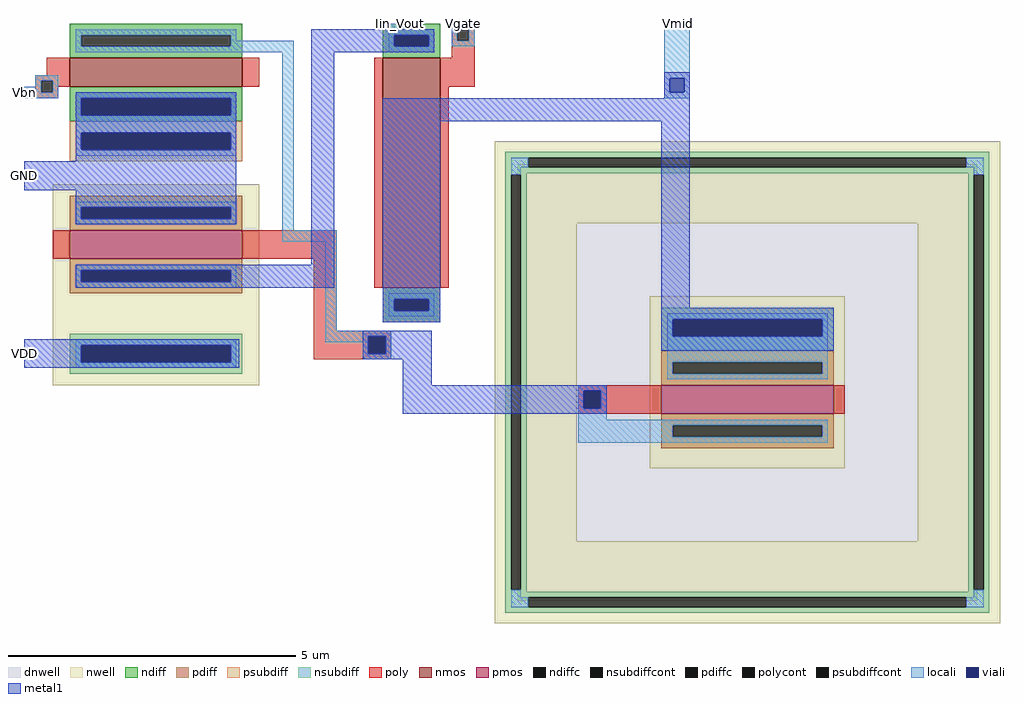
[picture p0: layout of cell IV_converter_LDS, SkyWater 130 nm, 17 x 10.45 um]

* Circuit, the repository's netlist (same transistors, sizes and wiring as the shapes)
* SPICE3 file created from IV_converter_LDS.ext - technology: sky130A

.subckt IV_converter_LDS GND VDD Vgate Vmid Iin_Vout Vbn
X0 Iin_Vout Vgate Vmid GND sky130_fd_pr__nfet_01v8 ad=0.6 pd=3.2 as=0.6 ps=3.2 w=1 l=4
X1 a_n60_n600# Vbn GND GND sky130_fd_pr__nfet_01v8 ad=1.8 pd=7.2 as=1.8 ps=7.2 w=3 l=0.5
X2 GND a_n60_n600# Iin_Vout VDD sky130_fd_pr__pfet_01v8 ad=1.8 pd=7.2 as=1.8 ps=7.2 w=3 l=0.5
X3 Vmid a_n60_n600# a_n60_n600# Vmid sky130_fd_pr__pfet_01v8 ad=1.8 pd=7.2 as=1.8 ps=7.2 w=3 l=0.5
.ends

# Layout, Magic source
magic
tech sky130A
magscale 1 2
<< dnwell >>
rect 1560 -1790 3160 -270
<< nwell >>
rect -60 -1040 660 -340
rect 1480 -476 3240 -190
rect 1480 -1584 1766 -476
rect 2020 -1330 2700 -730
rect 2954 -1584 3240 -476
rect 1480 -1870 3240 -1584
<< nmos >>
rect 0 0 600 100
rect 1090 -700 1290 100
<< pmos >>
rect 0 -600 600 -500
rect 2060 -1140 2660 -1040
<< ndiff >>
rect 0 180 600 220
rect 0 140 40 180
rect 560 140 600 180
rect 0 100 600 140
rect 1090 180 1290 220
rect 1090 140 1130 180
rect 1250 140 1290 180
rect 1090 100 1290 140
rect 0 -40 600 0
rect 0 -100 40 -40
rect 560 -100 600 -40
rect 0 -120 600 -100
rect 1090 -740 1290 -700
rect 1090 -780 1130 -740
rect 1250 -780 1290 -740
rect 1090 -820 1290 -780
<< pdiff >>
rect 0 -420 600 -380
rect 0 -460 40 -420
rect 560 -460 600 -420
rect 0 -500 600 -460
rect 0 -640 600 -600
rect 0 -680 40 -640
rect 560 -680 600 -640
rect 0 -720 600 -680
rect 2060 -960 2660 -920
rect 2060 -1000 2100 -960
rect 2620 -1000 2660 -960
rect 2060 -1040 2660 -1000
rect 2060 -1180 2660 -1140
rect 2060 -1220 2100 -1180
rect 2620 -1220 2660 -1180
rect 2060 -1260 2660 -1220
<< ndiffc >>
rect 40 140 560 180
rect 1130 140 1250 180
rect 40 -100 560 -40
rect 1130 -780 1250 -740
<< pdiffc >>
rect 40 -460 560 -420
rect 40 -680 560 -640
rect 2100 -1000 2620 -960
rect 2100 -1220 2620 -1180
<< psubdiff >>
rect 0 -160 600 -120
rect 0 -220 40 -160
rect 560 -220 600 -160
rect 0 -260 600 -220
<< nsubdiff >>
rect 1517 -247 3203 -227
rect 1517 -281 1597 -247
rect 3123 -281 3203 -247
rect 1517 -301 3203 -281
rect 1517 -307 1591 -301
rect 0 -900 600 -860
rect 0 -960 40 -900
rect 560 -960 600 -900
rect 0 -1000 600 -960
rect 1517 -1753 1537 -307
rect 1571 -1753 1591 -307
rect 3129 -307 3203 -301
rect 2060 -810 2660 -770
rect 2060 -870 2100 -810
rect 2620 -870 2660 -810
rect 2060 -920 2660 -870
rect 1517 -1759 1591 -1753
rect 3129 -1753 3149 -307
rect 3183 -1753 3203 -307
rect 3129 -1759 3203 -1753
rect 1517 -1779 3203 -1759
rect 1517 -1813 1597 -1779
rect 3123 -1813 3203 -1779
rect 1517 -1833 3203 -1813
<< psubdiffcont >>
rect 40 -220 560 -160
<< nsubdiffcont >>
rect 1597 -281 3123 -247
rect 40 -960 560 -900
rect 1537 -1753 1571 -307
rect 2100 -870 2620 -810
rect 3149 -1753 3183 -307
rect 1597 -1813 3123 -1779
<< poly >>
rect 1330 200 1410 220
rect 1330 160 1350 200
rect 1390 160 1410 200
rect 1330 100 1410 160
rect -80 40 0 100
rect -120 20 0 40
rect -120 -20 -100 20
rect -60 0 0 20
rect 600 0 660 100
rect -60 -20 -40 0
rect -120 -40 -40 -20
rect -60 -600 0 -500
rect 600 -600 930 -500
rect 850 -850 930 -600
rect 1060 -700 1090 100
rect 1290 0 1410 100
rect 1290 -700 1320 0
rect 850 -870 1120 -850
rect 850 -930 1040 -870
rect 1100 -930 1120 -870
rect 850 -950 1120 -930
rect 1770 -1060 2060 -1040
rect 1770 -1120 1790 -1060
rect 1850 -1120 2060 -1060
rect 1770 -1140 2060 -1120
rect 2660 -1140 2700 -1040
<< polycont >>
rect 1350 160 1390 200
rect -100 -20 -60 20
rect 1040 -930 1100 -870
rect 1790 -1120 1850 -1060
<< locali >>
rect 1110 200 1190 220
rect 1330 200 1410 220
rect 20 180 580 200
rect 20 140 40 180
rect 560 160 580 180
rect 1110 180 1270 200
rect 560 140 780 160
rect 20 120 780 140
rect 1110 140 1130 180
rect 1250 140 1270 180
rect 1330 160 1350 200
rect 1390 160 1410 200
rect 1330 140 1410 160
rect 1110 120 1270 140
rect -120 20 -40 40
rect -120 0 -100 20
rect -160 -20 -100 0
rect -60 -20 -40 20
rect -160 -40 -40 -20
rect 20 -40 580 -20
rect 20 -100 40 -40
rect 560 -100 580 -40
rect 20 -160 580 -100
rect 20 -220 40 -160
rect 560 -220 580 -160
rect 20 -240 580 -220
rect 20 -420 580 -400
rect 20 -460 40 -420
rect 560 -460 580 -420
rect 20 -480 580 -460
rect 740 -500 780 120
rect 2070 30 2160 220
rect 2070 -20 2090 30
rect 2140 -20 2160 30
rect 2070 -40 2160 -20
rect 1537 -281 1597 -247
rect 3123 -281 3183 -247
rect 1537 -307 1571 -281
rect 740 -540 930 -500
rect 20 -640 580 -620
rect 20 -680 40 -640
rect 560 -680 580 -640
rect 20 -700 580 -680
rect 890 -850 930 -540
rect 1110 -740 1270 -720
rect 1110 -780 1130 -740
rect 1250 -780 1270 -740
rect 1110 -800 1270 -780
rect 890 -870 1120 -850
rect 20 -900 580 -880
rect 890 -890 1040 -870
rect 20 -960 40 -900
rect 560 -960 580 -900
rect 1020 -930 1040 -890
rect 1100 -930 1120 -870
rect 1020 -950 1120 -930
rect 20 -980 580 -960
rect 3149 -307 3183 -281
rect 2080 -810 2640 -790
rect 2080 -870 2100 -810
rect 2620 -870 2640 -810
rect 2080 -960 2640 -870
rect 2080 -1000 2100 -960
rect 2620 -1000 2640 -960
rect 2080 -1020 2640 -1000
rect 1770 -1060 1870 -1040
rect 1770 -1120 1790 -1060
rect 1850 -1120 1870 -1060
rect 1770 -1160 1870 -1120
rect 1770 -1180 2640 -1160
rect 1770 -1220 2100 -1180
rect 2620 -1220 2640 -1180
rect 1770 -1240 2640 -1220
rect 1537 -1779 1571 -1753
rect 3149 -1779 3183 -1753
rect 1537 -1813 1597 -1779
rect 3123 -1813 3183 -1779
<< viali >>
rect 1130 140 1250 180
rect 40 -100 560 -40
rect 40 -220 560 -160
rect 40 -460 560 -420
rect 2090 -20 2140 30
rect 40 -680 560 -640
rect 1130 -780 1250 -740
rect 40 -960 560 -900
rect 1040 -930 1100 -870
rect 2100 -870 2620 -810
rect 1790 -1120 1850 -1060
<< metal1 >>
rect 840 180 1270 200
rect 840 140 1130 180
rect 1250 140 1270 180
rect 840 120 1270 140
rect 20 -40 580 -20
rect 20 -100 40 -40
rect 560 -100 580 -40
rect 20 -160 580 -100
rect 20 -220 40 -160
rect 560 -220 580 -160
rect 20 -260 580 -220
rect -160 -360 580 -260
rect 20 -420 580 -360
rect 20 -460 40 -420
rect 560 -460 580 -420
rect 20 -480 580 -460
rect 840 -620 920 120
rect 2070 30 2160 50
rect 2070 -20 2090 30
rect 2140 -20 2160 30
rect 2070 -40 2160 -20
rect 20 -640 920 -620
rect 20 -680 40 -640
rect 560 -680 920 -640
rect 20 -700 920 -680
rect 1090 -120 2160 -40
rect 1090 -740 1290 -120
rect 1090 -780 1130 -740
rect 1250 -780 1290 -740
rect 1090 -820 1290 -780
rect 2060 -770 2160 -120
rect 2060 -810 2660 -770
rect 1020 -870 1260 -850
rect -160 -900 590 -880
rect -160 -960 40 -900
rect 560 -960 590 -900
rect 1020 -930 1040 -870
rect 1100 -930 1260 -870
rect 2060 -870 2100 -810
rect 2620 -870 2660 -810
rect 2060 -920 2660 -870
rect 1020 -950 1260 -930
rect -160 -980 590 -960
rect 1160 -1040 1260 -950
rect 1160 -1060 1870 -1040
rect 1160 -1120 1790 -1060
rect 1850 -1120 1870 -1060
rect 1160 -1140 1870 -1120
<< labels >>
rlabel metal1 -160 -310 -160 -310 7 GND
port 0 w
rlabel metal1 -160 -930 -160 -930 7 VDD
port 1 w
rlabel locali 2120 220 2120 220 1 Vmid
port 3 n
rlabel locali -160 -20 -160 -20 7 Vbn
port 5 w
rlabel locali 1150 220 1150 220 1 Iin_Vout
port 4 n
rlabel locali 1370 220 1370 220 1 Vgate
port 2 n
<< end >>
